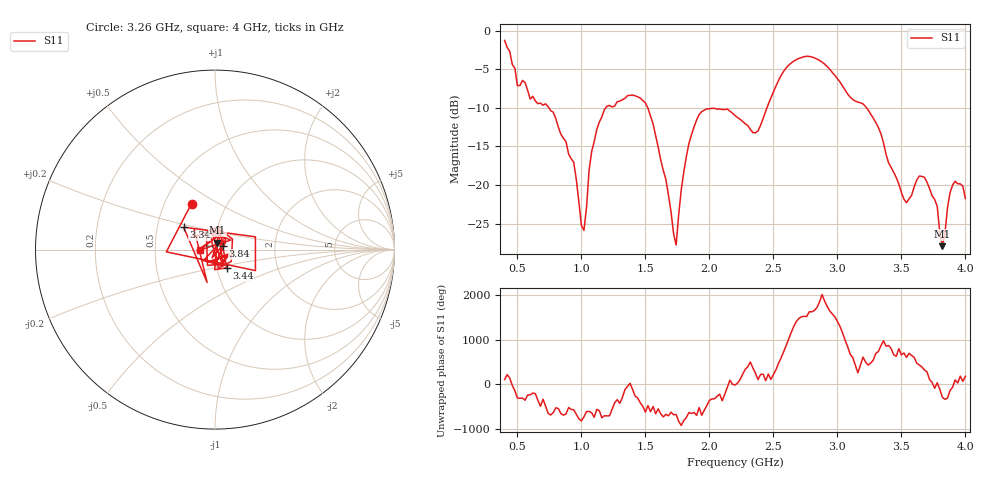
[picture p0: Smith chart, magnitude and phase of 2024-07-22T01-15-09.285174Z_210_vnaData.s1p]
!Created with skrf (http://scikit-rf.org).
# Hz S RI R 50.0
!freq ReS11 ImS11
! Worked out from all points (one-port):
!   181 points, 400 MHz to 4 GHz, reference 50 ohm
!   lowest |S11| = -27.9 dB at 3.82 GHz (marker M1), VSWR 1.08, Z = 51.1 + j3.92 ohm
!   |S11| at or under -10 dB: 746.1 MHz to 1.19 GHz (443.8 MHz wide, 45.8 % of centre); 1.519 GHz to 2.45 GHz (931 MHz wide, 46.9 % of centre); 3.228 GHz to end of sweep
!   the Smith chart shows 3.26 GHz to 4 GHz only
!   S11 on the Smith chart (normalised r, x): 3.26 GHz: 0.68, +0.38; 3.34 GHz: 0.68, +0.18; 3.44 GHz: 1.11, -0.23; 3.84 GHz: 1.09, +0.04; 4 GHz: 0.85, +0.00
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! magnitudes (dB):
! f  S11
! 400 MHz  -1.3
! 500 MHz  -7.1
! 860 MHz  -13.9
! 940 MHz  -17.0
! 1.02 GHz  -25.9
! 1.06 GHz  -18.1
! 1.12 GHz  -12.8
! 1.3 GHz  -9.1
! 1.5 GHz  -9.4
! 1.66 GHz  -19.3
! 1.74 GHz  -27.8
! 1.76 GHz  -23.8
! 1.84 GHz  -14.6
! 1.92 GHz  -10.9
! 2.2 GHz  -11.0
! 2.38 GHz  -13.0
! 2.66 GHz  -3.9
! 3.1 GHz  -8.6
! 3.26 GHz  -10.8
! 3.34 GHz  -13.4
! 3.44 GHz  -18.4
! 3.56 GHz  -21.8
! 3.68 GHz  -19.0
! 3.78 GHz  -22.7
! 3.82 GHz  -27.9
! 3.84 GHz  -26.3
! 3.9 GHz  -20.0
! 4 GHz  -21.7
